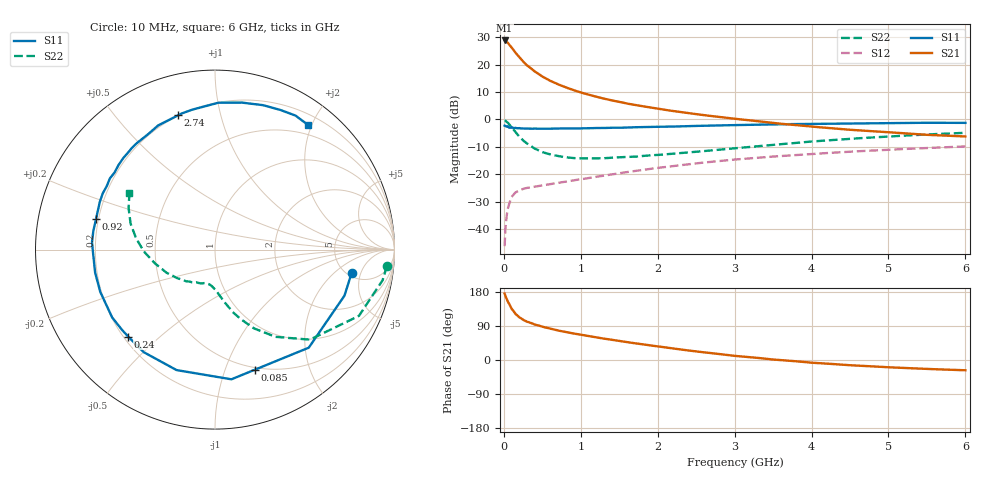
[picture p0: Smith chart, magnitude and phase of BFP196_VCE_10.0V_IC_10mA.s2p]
! Infineon Technologies  Discrete & RF Semiconductors
! BFP196
! VCE = 10.0V,  IC =  10mA
! Common Emitter S-Parameters:  Jan 2016
# GHz  S  MA  R  50
!  f  S11  S21  S12  S22
! GHz  MAG  ANG  MAG  ANG  MAG  ANG  MAG  ANG
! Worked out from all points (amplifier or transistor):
!   210 points, 10 MHz to 6 GHz, reference 50 ohm
!   highest |S21| = 28.8 dB at 10 MHz (marker M1)
!   |S21| within 3 dB of that: start of sweep to 113.6 MHz
!   unconditionally stable (mu >= 1): 930.5 MHz to 3.435 GHz
!   at 185 MHz: K = 0.30, MSG = 24.7 dB, |S12| = -26.1 dB
!   at 1.52 GHz: K = 1.14, MAG = 10.6 dB, |S12| = -19.5 dB
!   at 6 GHz: K = 0.96, MSG = 1.8 dB, |S12| = -9.8 dB
!   S11 on the Smith chart (normalised r, x): 10 MHz: 5.42, -3.53; 85 MHz: 0.48, -1.27; 240 MHz: 0.22, -0.40; 920 MHz: 0.19, +0.12; 2.74 GHz: 0.20, +0.74; 6 GHz: 0.35, +1.94
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0.01  0.7721 -9.8  27.57 175.3  0.0049 83.8  0.9623 -5.5
0.02  0.7656 -19.6  26.79 169.0  0.0098 77.6  0.9491 -10.4
0.05  0.756 -46.3  25.17 154.6  0.0232 67.6  0.883 -24.7
0.085  0.7052 -71.8  21.8 141.9  0.0337 56.1  0.7656 -37.1
0.1  0.7284 -82.8  20.76 135.4  0.0385 53.2  0.7286 -43.5
0.15  0.7046 -107.7  16.57 121.8  0.0466 43.2  0.5912 -55.3
0.2  0.6959 -124.8  13.66 112.8  0.051 38.4  0.4891 -63.7
0.24  0.6849 -134.9  11.8 107.6  0.0535 35.6  0.4289 -68.2
0.3  0.6864 -146.6  9.726 101.2  0.0565 33.6  0.3666 -73.7
0.4  0.6813 -159.8  7.531 93.7  0.0596 32.6  0.2954 -80.0
0.5  0.6801 -169.2  6.067 87.8  0.0627 33.3  0.2539 -84.6
0.6  0.6788 -176.7  5.096 82.6  0.0662 34.4  0.2303 -88.2
0.7  0.6864 176.5  4.405 77.9  0.0695 35.8  0.2157 -91.5
0.92  0.6843 165.6  3.377 69.5  0.0785 38.5  0.1974 -98.2
1.02  0.6889 160.8  3.05 65.8  0.082 39.6  0.1955 -100.8
1.4  0.7073 145.9  2.226 53.5  0.0994 41.9  0.2009 -110.3
2.02  0.7363 125.6  1.553 35.4  0.1321 41.8  0.2265 -127.9
2.74  0.7761 105.3  1.137 17.2  0.1714 37.5  0.2755 -147.7
3.1  0.7933 97.1  0.996 9.2  0.1907 34.1  0.3065 -157.3
4.1  0.8346 77.9  0.722 -8.3  0.2394 24.1  0.4051 179.4
5.1  0.8608 63.7  0.573 -20.0  0.2851 13.2  0.499 161.2
6  0.8667 53.4  0.49 -27.1  0.3223 2.8  0.5716 146.5
